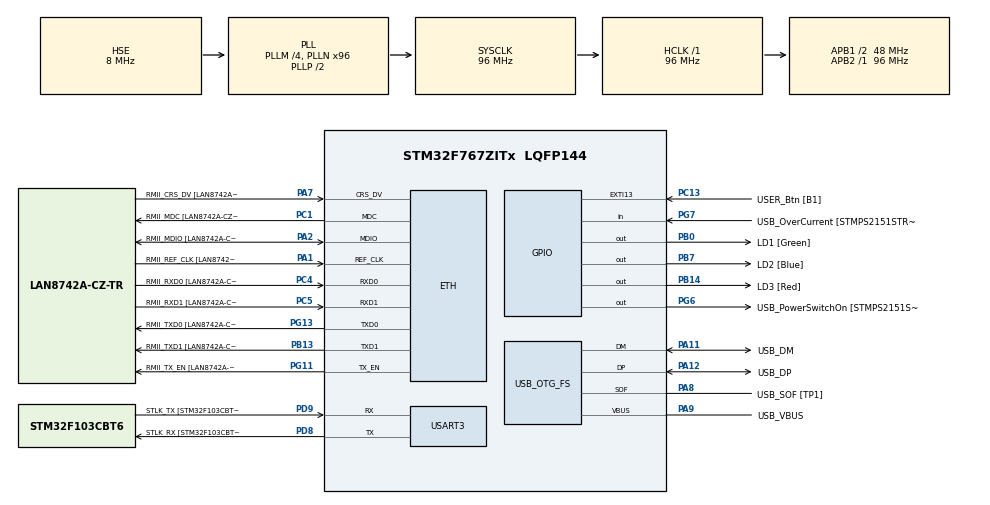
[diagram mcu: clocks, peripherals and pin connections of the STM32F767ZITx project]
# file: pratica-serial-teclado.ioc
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CORTEX_M7.default_mode_Activation=1
ETH.MediaInterface=HAL_ETH_RMII_MODE
ETH.PHY_Name=LAN8742A_PHY_ADDRESS
ETH.PHY_Value=0
ETH.PhyAddress=0
Mcu.Family=STM32F7
Mcu.Name=STM32F767ZITx
Mcu.Package=LQFP144
NVIC.PriorityGroup=NVIC_PRIORITYGROUP_4
PA1.GPIO_Label=RMII_REF_CLK [LAN8742A-CZ-TR_REFCLK0]
PA1.Mode=RMII
PA1.Signal=ETH_REF_CLK
PA10.GPIO_Label=USB_ID
PA10.Signal=USB_OTG_FS_ID
PA11.GPIO_Label=USB_DM
PA11.Mode=Device_Only
PA11.Signal=USB_OTG_FS_DM
PA12.GPIO_Label=USB_DP
PA12.Mode=Device_Only
PA12.Signal=USB_OTG_FS_DP
PA13.GPIO_Label=TMS
PA13.Mode=Serial_Wire
PA13.Signal=SYS_JTMS-SWDIO
PA14.GPIO_Label=TCK
PA14.Mode=Serial_Wire
PA14.Signal=SYS_JTCK-SWCLK
PA2.GPIO_Label=RMII_MDIO [LAN8742A-CZ-TR_MDIO]
PA2.Mode=RMII
PA2.Signal=ETH_MDIO
PA7.GPIO_Label=RMII_CRS_DV [LAN8742A-CZ-TR_CRS_DV]
PA7.Mode=RMII
PA7.Signal=ETH_CRS_DV
PA8.GPIO_Label=USB_SOF [TP1]
PA8.Mode=Activate_SOF_FS
PA8.Signal=USB_OTG_FS_SOF
PA9.GPIO_Label=USB_VBUS
PA9.Mode=Activate_VBUS
PA9.Signal=USB_OTG_FS_VBUS
PB0.GPIO_Label=LD1 [Green]
PB0.Signal=GPIO_Output
PB13.GPIO_Label=RMII_TXD1 [LAN8742A-CZ-TR_TXD1]
PB13.Mode=RMII
PB13.Signal=ETH_TXD1
PB14.GPIO_Label=LD3 [Red]
PB14.Signal=GPIO_Output
PB3.GPIO_Label=SWO
PB3.Signal=SYS_JTDO-SWO
PB7.GPIO_Label=LD2 [Blue]
PB7.Signal=GPIO_Output
PC1.GPIO_Label=RMII_MDC [LAN8742A-CZ-TR_MDC]
PC1.Mode=RMII
PC1.Signal=ETH_MDC
PC13.GPIO_Label=USER_Btn [B1]
PC13.Signal=GPXTI13
PC14/OSC32_IN.Mode=LSE-External-Oscillator
PC14/OSC32_IN.Signal=RCC_OSC32_IN
PC15/OSC32_OUT.Mode=LSE-External-Oscillator
PC15/OSC32_OUT.Signal=RCC_OSC32_OUT
PC4.GPIO_Label=RMII_RXD0 [LAN8742A-CZ-TR_RXD0]
PC4.Mode=RMII
PC4.Signal=ETH_RXD0
PC5.GPIO_Label=RMII_RXD1 [LAN8742A-CZ-TR_RXD1]
PC5.Mode=RMII
PC5.Signal=ETH_RXD1
PD8.GPIO_Label=STLK_RX [STM32F103CBT6_PA3]
PD8.Mode=Asynchronous
PD8.Signal=USART3_TX
PD9.GPIO_Label=STLK_TX [STM32F103CBT6_PA2]
PD9.Mode=Asynchronous
PD9.Signal=USART3_RX
PG11.GPIO_Label=RMII_TX_EN [LAN8742A-CZ-TR_TXEN]
PG11.Mode=RMII
PG11.Signal=ETH_TX_EN
PG13.GPIO_Label=RMII_TXD0 [LAN8742A-CZ-TR_TXD0]
PG13.Mode=RMII
PG13.Signal=ETH_TXD0
PG6.GPIO_Label=USB_PowerSwitchOn [STMPS2151STR_EN]
PG6.Signal=GPIO_Output
PG7.GPIO_Label=USB_OverCurrent [STMPS2151STR_FAULT]
PG7.Signal=GPIO_Input
PH0/OSC_IN.GPIO_Label=MCO [STM32F103CBT6_PA8]
PH0/OSC_IN.Mode=HSE-External-Clock-Source
PH0/OSC_IN.Signal=RCC_OSC_IN
PH1/OSC_OUT.Mode=HSE-External-Clock-Source
PH1/OSC_OUT.Signal=RCC_OSC_OUT
ProjectManager.HeapSize=0x200
ProjectManager.StackSize=0x400
ProjectManager.TargetToolchain=STM32CubeIDE
RCC.48MHZClocksFreq_Value=24000000
RCC.AHBFreq_Value=96000000
RCC.APB1CLKDivider=RCC_HCLK_DIV2
RCC.APB1Freq_Value=48000000
RCC.APB1TimFreq_Value=96000000
RCC.APB2Freq_Value=96000000
RCC.APB2TimFreq_Value=96000000
RCC.CortexFreq_Value=96000000
RCC.HCLKFreq_Value=96000000
RCC.HSE_VALUE=8000000
RCC.HSI_VALUE=16000000
RCC.PLLM=4
RCC.PLLMUL=RCC_PLL_MUL9
RCC.PLLN=96
RCC.PLLQ=4
RCC.PRESCALERUSB=RCC_USBCLKSOURCE_PLL_DIV1_5
RCC.SYSCLKFreq_VALUE=96000000
RCC.SYSCLKSource=RCC_SYSCLKSOURCE_PLLCLK
RCC.SYSCLKSourceVirtual=RCC_SYSCLKSOURCE_PLLCLK
RCC.USBFreq_Value=48000000
RCC.VCOOutputFreq_Value=192000000
USART3.VirtualMode-Asynchronous=VM_ASYNC
USB_OTG_FS.VirtualMode=Device_Only
board=NUCLEO-F767ZI

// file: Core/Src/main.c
/* USER CODE BEGIN Header */
/**
  ******************************************************************************
  * @file           : main.c
  * @brief          : Main program body
  ******************************************************************************
  * @attention
  *
  * Copyright (c) 2026 STMicroelectronics.
  * All rights reserved.
  *
  * This software is licensed under terms that can be found in the LICENSE file
  * in the root directory of this software component.
  * If no LICENSE file comes with this software, it is provided AS-IS.
  *
  ******************************************************************************
  */
/* USER CODE END Header */
#include "main.h"
#include "string.h"

/* USER CODE BEGIN Includes */
#include "Utilities.h"
/* USER CODE END Includes */

#if defined ( __ICCARM__ ) /*!< IAR Compiler */
#pragma location=0x2007c000
ETH_DMADescTypeDef  DMARxDscrTab[ETH_RX_DESC_CNT]; /* Ethernet Rx DMA Descriptors */
#pragma location=0x2007c0a0
ETH_DMADescTypeDef  DMATxDscrTab[ETH_TX_DESC_CNT]; /* Ethernet Tx DMA Descriptors */

#elif defined ( __CC_ARM )  /* MDK ARM Compiler */

__attribute__((at(0x2007c000))) ETH_DMADescTypeDef  DMARxDscrTab[ETH_RX_DESC_CNT]; /* Ethernet Rx DMA Descriptors */
__attribute__((at(0x2007c0a0))) ETH_DMADescTypeDef  DMATxDscrTab[ETH_TX_DESC_CNT]; /* Ethernet Tx DMA Descriptors */

#elif defined ( __GNUC__ ) /* GNU Compiler */

ETH_DMADescTypeDef DMARxDscrTab[ETH_RX_DESC_CNT] __attribute__((section(".RxDecripSection"))); /* Ethernet Rx DMA Descriptors */
ETH_DMADescTypeDef DMATxDscrTab[ETH_TX_DESC_CNT] __attribute__((section(".TxDecripSection")));   /* Ethernet Tx DMA Descriptors */
#endif

ETH_TxPacketConfig TxConfig;

ETH_HandleTypeDef heth;

UART_HandleTypeDef huart3;

PCD_HandleTypeDef hpcd_USB_OTG_FS;

/* USER CODE BEGIN PV */
char letra = 'R';
/* USER CODE END PV */

void SystemClock_Config(void);
static void MPU_Config(void);
static void MX_GPIO_Init(void);
static void MX_ETH_Init(void);
static void MX_USART3_UART_Init(void);
static void MX_USB_OTG_FS_PCD_Init(void);

int main(void)
{

  /* MPU Configuration--------------------------------------------------------*/
  MPU_Config();

  /* MCU Configuration--------------------------------------------------------*/

  /* Reset of all peripherals, Initializes the Flash interface and the Systick. */
  HAL_Init();

  /* Configure the system clock */
  SystemClock_Config();

  /* Initialize all configured peripherals */
  MX_GPIO_Init();
  MX_ETH_Init();
  MX_USART3_UART_Init();
  MX_USB_OTG_FS_PCD_Init();
  /* USER CODE BEGIN 2 */
  TIM2_Micros_Init();

  /* USER CODE END 2 */

  /* Infinite loop */
  /* USER CODE BEGIN WHILE */
  while (1)
  {
	  if (USART3->ISR & USART_ISR_RXNE)
	  {
		  letra = USART3->RDR;

		  switch (letra)
		  {
		  case 'R':
			  HAL_GPIO_TogglePin(GPIOB, LD3_Pin);
			  break;
		  case 'G':
			  HAL_GPIO_TogglePin(GPIOB, LD1_Pin);
			  break;
		  case 'B':
			  HAL_GPIO_TogglePin(GPIOB, LD2_Pin);
			  break;
		  }
	  }
    /* USER CODE END WHILE */

  }
}

void SystemClock_Config(void)
{
  RCC_OscInitTypeDef RCC_OscInitStruct = {0};
  RCC_ClkInitTypeDef RCC_ClkInitStruct = {0};

  /** Configure LSE Drive Capability
  */
  HAL_PWR_EnableBkUpAccess();

  /** Configure the main internal regulator output voltage
  */
  __HAL_RCC_PWR_CLK_ENABLE();
  __HAL_PWR_VOLTAGESCALING_CONFIG(PWR_REGULATOR_VOLTAGE_SCALE3);

  /** Initializes the RCC Oscillators according to the specified parameters
  * in the RCC_OscInitTypeDef structure.
  */
  RCC_OscInitStruct.OscillatorType = RCC_OSCILLATORTYPE_HSE;
  RCC_OscInitStruct.HSEState = RCC_HSE_BYPASS;
  RCC_OscInitStruct.PLL.PLLState = RCC_PLL_ON;
  RCC_OscInitStruct.PLL.PLLSource = RCC_PLLSOURCE_HSE;
  RCC_OscInitStruct.PLL.PLLM = 4;
  RCC_OscInitStruct.PLL.PLLN = 96;
  RCC_OscInitStruct.PLL.PLLP = RCC_PLLP_DIV2;
  RCC_OscInitStruct.PLL.PLLQ = 4;
  RCC_OscInitStruct.PLL.PLLR = 2;
  if (HAL_RCC_OscConfig(&RCC_OscInitStruct) != HAL_OK)
  {
    Error_Handler();
  }

  /** Activate the Over-Drive mode
  */
  if (HAL_PWREx_EnableOverDrive() != HAL_OK)
  {
    Error_Handler();
  }

  /** Initializes the CPU, AHB and APB buses clocks
  */
  RCC_ClkInitStruct.ClockType = RCC_CLOCKTYPE_HCLK|RCC_CLOCKTYPE_SYSCLK
                              |RCC_CLOCKTYPE_PCLK1|RCC_CLOCKTYPE_PCLK2;
  RCC_ClkInitStruct.SYSCLKSource = RCC_SYSCLKSOURCE_PLLCLK;
  RCC_ClkInitStruct.AHBCLKDivider = RCC_SYSCLK_DIV1;
  RCC_ClkInitStruct.APB1CLKDivider = RCC_HCLK_DIV2;
  RCC_ClkInitStruct.APB2CLKDivider = RCC_HCLK_DIV1;

  if (HAL_RCC_ClockConfig(&RCC_ClkInitStruct, FLASH_LATENCY_3) != HAL_OK)
  {
    Error_Handler();
  }
}

static void MX_ETH_Init(void)
{

   static uint8_t MACAddr[6];

  heth.Instance = ETH;
  MACAddr[0] = 0x00;
  MACAddr[1] = 0x80;
  MACAddr[2] = 0xE1;
  MACAddr[3] = 0x00;
  MACAddr[4] = 0x00;
  MACAddr[5] = 0x00;
  heth.Init.MACAddr = &MACAddr[0];
  heth.Init.MediaInterface = HAL_ETH_RMII_MODE;
  heth.Init.TxDesc = DMATxDscrTab;
  heth.Init.RxDesc = DMARxDscrTab;
  heth.Init.RxBuffLen = 1524;

  if (HAL_ETH_Init(&heth) != HAL_OK)
  {
    Error_Handler();
  }

  memset(&TxConfig, 0 , sizeof(ETH_TxPacketConfig));
  TxConfig.Attributes = ETH_TX_PACKETS_FEATURES_CSUM | ETH_TX_PACKETS_FEATURES_CRCPAD;
  TxConfig.ChecksumCtrl = ETH_CHECKSUM_IPHDR_PAYLOAD_INSERT_PHDR_CALC;
  TxConfig.CRCPadCtrl = ETH_CRC_PAD_INSERT;

}

static void MX_USART3_UART_Init(void)
{

  huart3.Instance = USART3;
  huart3.Init.BaudRate = 115200;
  huart3.Init.WordLength = UART_WORDLENGTH_8B;
  huart3.Init.StopBits = UART_STOPBITS_1;
  huart3.Init.Parity = UART_PARITY_NONE;
  huart3.Init.Mode = UART_MODE_TX_RX;
  huart3.Init.HwFlowCtl = UART_HWCONTROL_NONE;
  huart3.Init.OverSampling = UART_OVERSAMPLING_16;
  huart3.Init.OneBitSampling = UART_ONE_BIT_SAMPLE_DISABLE;
  huart3.AdvancedInit.AdvFeatureInit = UART_ADVFEATURE_NO_INIT;
  if (HAL_UART_Init(&huart3) != HAL_OK)
  {
    Error_Handler();
  }

}

static void MX_USB_OTG_FS_PCD_Init(void)
{

  hpcd_USB_OTG_FS.Instance = USB_OTG_FS;
  hpcd_USB_OTG_FS.Init.dev_endpoints = 6;
  hpcd_USB_OTG_FS.Init.speed = PCD_SPEED_FULL;
  hpcd_USB_OTG_FS.Init.dma_enable = DISABLE;
  hpcd_USB_OTG_FS.Init.phy_itface = PCD_PHY_EMBEDDED;
  hpcd_USB_OTG_FS.Init.Sof_enable = ENABLE;
  hpcd_USB_OTG_FS.Init.low_power_enable = DISABLE;
  hpcd_USB_OTG_FS.Init.lpm_enable = DISABLE;
  hpcd_USB_OTG_FS.Init.vbus_sensing_enable = ENABLE;
  hpcd_USB_OTG_FS.Init.use_dedicated_ep1 = DISABLE;
  if (HAL_PCD_Init(&hpcd_USB_OTG_FS) != HAL_OK)
  {
    Error_Handler();
  }

}

static void MX_GPIO_Init(void)
{
  GPIO_InitTypeDef GPIO_InitStruct = {0};

  /* GPIO Ports Clock Enable */
  __HAL_RCC_GPIOC_CLK_ENABLE();
  __HAL_RCC_GPIOH_CLK_ENABLE();
  __HAL_RCC_GPIOA_CLK_ENABLE();
  __HAL_RCC_GPIOB_CLK_ENABLE();
  __HAL_RCC_GPIOD_CLK_ENABLE();
  __HAL_RCC_GPIOG_CLK_ENABLE();

  /*Configure GPIO pin Output Level */
  HAL_GPIO_WritePin(GPIOB, LD1_Pin|LD3_Pin|LD2_Pin, GPIO_PIN_RESET);

  /*Configure GPIO pin Output Level */
  HAL_GPIO_WritePin(USB_PowerSwitchOn_GPIO_Port, USB_PowerSwitchOn_Pin, GPIO_PIN_RESET);

  /*Configure GPIO pin : USER_Btn_Pin */
  GPIO_InitStruct.Pin = USER_Btn_Pin;
  GPIO_InitStruct.Mode = GPIO_MODE_IT_RISING;
  GPIO_InitStruct.Pull = GPIO_NOPULL;
  HAL_GPIO_Init(USER_Btn_GPIO_Port, &GPIO_InitStruct);

  /*Configure GPIO pins : LD1_Pin LD3_Pin LD2_Pin */
  GPIO_InitStruct.Pin = LD1_Pin|LD3_Pin|LD2_Pin;
  GPIO_InitStruct.Mode = GPIO_MODE_OUTPUT_PP;
  GPIO_InitStruct.Pull = GPIO_NOPULL;
  GPIO_InitStruct.Speed = GPIO_SPEED_FREQ_LOW;
  HAL_GPIO_Init(GPIOB, &GPIO_InitStruct);

  /*Configure GPIO pin : USB_PowerSwitchOn_Pin */
  GPIO_InitStruct.Pin = USB_PowerSwitchOn_Pin;
  GPIO_InitStruct.Mode = GPIO_MODE_OUTPUT_PP;
  GPIO_InitStruct.Pull = GPIO_NOPULL;
  GPIO_InitStruct.Speed = GPIO_SPEED_FREQ_LOW;
  HAL_GPIO_Init(USB_PowerSwitchOn_GPIO_Port, &GPIO_InitStruct);

  /*Configure GPIO pin : USB_OverCurrent_Pin */
  GPIO_InitStruct.Pin = USB_OverCurrent_Pin;
  GPIO_InitStruct.Mode = GPIO_MODE_INPUT;
  GPIO_InitStruct.Pull = GPIO_NOPULL;
  HAL_GPIO_Init(USB_OverCurrent_GPIO_Port, &GPIO_InitStruct);

}

 /* MPU Configuration */

void MPU_Config(void)
{
  MPU_Region_InitTypeDef MPU_InitStruct = {0};

  /* Disables the MPU */
  HAL_MPU_Disable();

  /** Initializes and configures the Region and the memory to be protected
  */
  MPU_InitStruct.Enable = MPU_REGION_ENABLE;
  MPU_InitStruct.Number = MPU_REGION_NUMBER0;
  MPU_InitStruct.BaseAddress = 0x0;
  MPU_InitStruct.Size = MPU_REGION_SIZE_4GB;
  MPU_InitStruct.SubRegionDisable = 0x87;
  MPU_InitStruct.TypeExtField = MPU_TEX_LEVEL0;
  MPU_InitStruct.AccessPermission = MPU_REGION_NO_ACCESS;
  MPU_InitStruct.DisableExec = MPU_INSTRUCTION_ACCESS_DISABLE;
  MPU_InitStruct.IsShareable = MPU_ACCESS_SHAREABLE;
  MPU_InitStruct.IsCacheable = MPU_ACCESS_NOT_CACHEABLE;
  MPU_InitStruct.IsBufferable = MPU_ACCESS_NOT_BUFFERABLE;

  HAL_MPU_ConfigRegion(&MPU_InitStruct);
  /* Enables the MPU */
  HAL_MPU_Enable(MPU_PRIVILEGED_DEFAULT);

}

void Error_Handler(void)
{
  __disable_irq();
  while (1)
  {
  }
}
